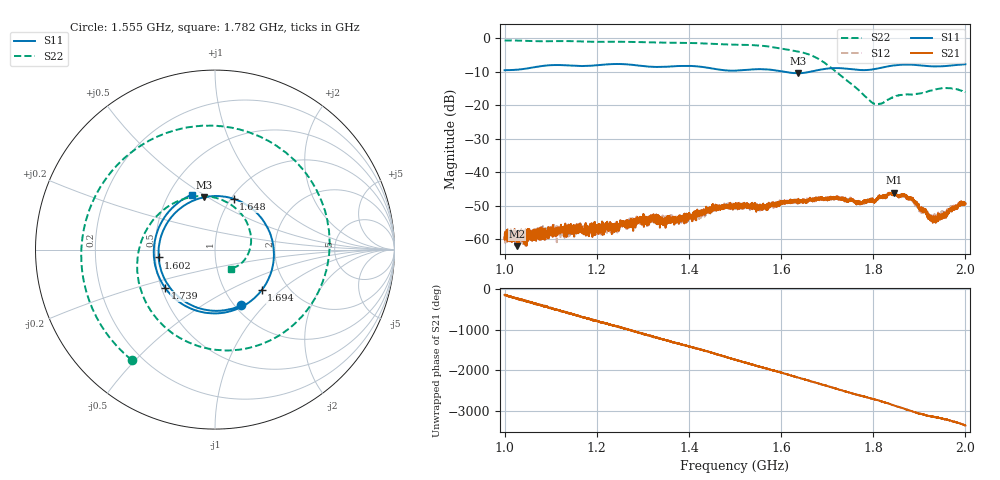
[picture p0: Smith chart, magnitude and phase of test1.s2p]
!Keysight Technologies N9923A: A.08.15
!Date: Friday, 16 February 2024 15:17:06
!Timezone: (GMT-05:00) Eastern Time (US & Canada)
!Model: N9923A
!Serial: MY52412730
!GPS Latitude:
!GPS Longitude:
!GPS TimeStamp: 0001-01-01 00:00:00Z
!GPS Seconds Since Last Read: 0
!CHECKSUM:1567488562
!Correction: S11(ON Q)S21(ON Q)S12(ON Q)S22(ON Q)
!S2P File: Measurements:S11,S21,S12,S22:
# Hz S DB R 50
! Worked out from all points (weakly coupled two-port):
!   4001 points, 1 GHz to 2 GHz, reference 50 ohm
!   highest |S21| = -46.16 dB at 1.845 GHz (marker M1); lowest = -62.1 dB at 1.027 GHz (marker M2)
!   lowest |S11| = -10.5 dB at 1.636 GHz (marker M3), VSWR 1.85, Z = 37.6 + j24.1 ohm
!   |S11| at or under -10 dB: 1.603 GHz to 1.666 GHz (62.82 MHz wide, 3.84 % of centre)
!   |S22| runs from -19.8 to -0.7 dB; largest |S21 - S12| = 0.00087
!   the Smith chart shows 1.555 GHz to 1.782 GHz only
!   S11 on the Smith chart (normalised r, x): 1.555 GHz: 1.07, -0.75; 1.602 GHz: 0.52, -0.05; 1.648 GHz: 1.03, +0.64; 1.694 GHz: 1.47, -0.76; 1.739 GHz: 0.52, -0.26; 1.782 GHz: 0.65, +0.45
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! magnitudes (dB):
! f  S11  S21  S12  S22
! 1 GHz  -9.6  -59.3  -59.2  -0.7
! 1.027 GHz  -9.5  -62.1  -59.4  -0.8
! 1.167 GHz  -8.4  -56.4  -55.9  -1.0
! 1.234 GHz  -7.8  -55.6  -56.8  -1.1
! 1.275 GHz  -8.0  -54.3  -54.5  -1.2
! 1.333 GHz  -8.6  -52.8  -53.8  -1.3
! 1.373 GHz  -8.4  -53.9  -54.6  -1.4
! 1.5 GHz  -9.7  -51.0  -50.2  -2.0
! 1.555 GHz  -9.3  -50.5  -50.8  -2.3
! 1.602 GHz  -10.0  -49.3  -49.0  -3.2
! 1.636 GHz  -10.5  -48.6  -49.2  -4.0
! 1.648 GHz  -10.4  -49.2  -48.9  -4.4
! 1.667 GHz  -10.0  -48.2  -48.3  -5.3
! 1.694 GHz  -9.3  -48.3  -47.9  -7.3
! 1.739 GHz  -9.1  -48.3  -48.3  -12.3
! 1.782 GHz  -9.6  -49.0  -49.1  -17.3
! 1.806 GHz  -9.2  -48.3  -48.9  -19.8
! 1.833 GHz  -8.4  -46.7  -46.9  -18.3
! 1.845 GHz  -8.2  -46.2  -46.9  -17.5
! 1.884 GHz  -8.0  -47.9  -48.4  -16.9
! 1.934 GHz  -8.5  -54.0  -53.6  -15.4
! 2 GHz  -7.8  -49.4  -49.1  -16.2
